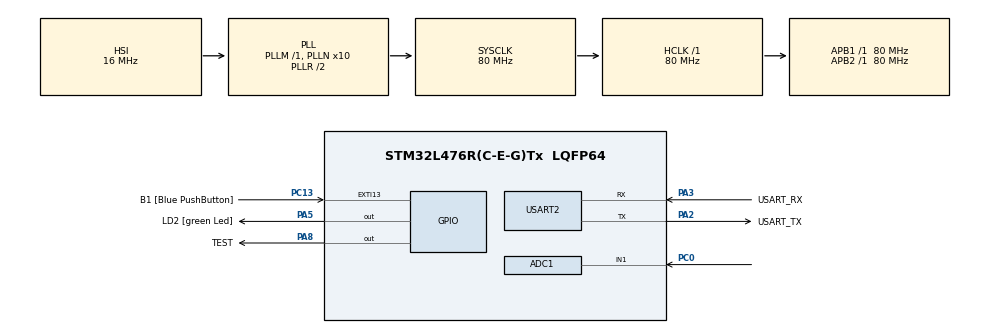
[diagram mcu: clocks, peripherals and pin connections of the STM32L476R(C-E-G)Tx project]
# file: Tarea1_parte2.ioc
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ADC1.Channel-0\#ChannelRegularConversion=ADC_CHANNEL_1
ADC1.ContinuousConvMode=DISABLE
ADC1.ExternalTrigConv=ADC_EXTERNALTRIG_T1_TRGO
ADC1.NbrOfConversionFlag=1
ADC1.OffsetNumber-0\#ChannelRegularConversion=ADC_OFFSET_NONE
ADC1.Rank-0\#ChannelRegularConversion=1
ADC1.SamplingTime-0\#ChannelRegularConversion=ADC_SAMPLETIME_47CYCLES_5
ADC1.master=1
Dma.ADC1.0.Direction=DMA_PERIPH_TO_MEMORY
Dma.ADC1.0.Instance=DMA1_Channel1
Dma.ADC1.0.MemDataAlignment=DMA_MDATAALIGN_HALFWORD
Dma.ADC1.0.MemInc=DMA_MINC_ENABLE
Dma.ADC1.0.Mode=DMA_NORMAL
Dma.ADC1.0.PeriphDataAlignment=DMA_PDATAALIGN_HALFWORD
Dma.ADC1.0.PeriphInc=DMA_PINC_DISABLE
Dma.ADC1.0.Priority=DMA_PRIORITY_LOW
Dma.Request0=ADC1
Mcu.Family=STM32L4
Mcu.Name=STM32L476R(C-E-G)Tx
Mcu.Package=LQFP64
NVIC.ADC1_2_IRQn=true\:0\:0\:false\:false\:true\:true\:true\:true
NVIC.DMA1_Channel1_IRQn=true\:0\:0\:false\:false\:true\:false\:true\:true
NVIC.EXTI15_10_IRQn=true\:0\:0\:false\:false\:true\:true\:true\:true
NVIC.PriorityGroup=NVIC_PRIORITYGROUP_4
PA13\ (JTMS-SWDIO).GPIO_Label=TMS
PA13\ (JTMS-SWDIO).Mode=Serial_Wire
PA13\ (JTMS-SWDIO).Signal=SYS_JTMS-SWDIO
PA14\ (JTCK-SWCLK).GPIO_Label=TCK
PA14\ (JTCK-SWCLK).Mode=Serial_Wire
PA14\ (JTCK-SWCLK).Signal=SYS_JTCK-SWCLK
PA2.GPIO_Label=USART_TX
PA2.GPIO_Mode=GPIO_MODE_AF_PP
PA2.GPIO_PuPd=GPIO_NOPULL
PA2.GPIO_Speed=GPIO_SPEED_FREQ_VERY_HIGH
PA2.Mode=Asynchronous
PA2.Signal=USART2_TX
PA3.GPIO_Label=USART_RX
PA3.GPIO_Mode=GPIO_MODE_AF_PP
PA3.GPIO_PuPd=GPIO_NOPULL
PA3.GPIO_Speed=GPIO_SPEED_FREQ_VERY_HIGH
PA3.Mode=Asynchronous
PA3.Signal=USART2_RX
PA5.GPIO_Label=LD2 [green Led]
PA5.GPIO_ModeDefaultOutputPP=GPIO_MODE_OUTPUT_PP
PA5.GPIO_PuPd=GPIO_NOPULL
PA5.GPIO_Speed=GPIO_SPEED_FREQ_LOW
PA5.Signal=GPIO_Output
PA8.GPIO_Label=TEST
PA8.Signal=GPIO_Output
PB3\ (JTDO-TRACESWO).GPIO_Label=SWO
PB3\ (JTDO-TRACESWO).Signal=SYS_JTDO-SWO
PC0.Signal=ADCx_IN1
PC13.GPIO_Label=B1 [Blue PushButton]
PC13.GPIO_ModeDefaultEXTI=GPIO_MODE_IT_FALLING
PC13.GPIO_PuPd=GPIO_NOPULL
PC13.Signal=GPXTI13
PC14-OSC32_IN\ (PC14).Mode=LSE-External-Oscillator
PC14-OSC32_IN\ (PC14).Signal=RCC_OSC32_IN
PC15-OSC32_OUT\ (PC15).Mode=LSE-External-Oscillator
PC15-OSC32_OUT\ (PC15).Signal=RCC_OSC32_OUT
PH0-OSC_IN\ (PH0).Signal=RCC_OSC_IN
PH1-OSC_OUT\ (PH1).Signal=RCC_OSC_OUT
ProjectManager.HeapSize=0x200
ProjectManager.StackSize=0x400
ProjectManager.TargetToolchain=STM32CubeIDE
RCC.ADCFreq_Value=64000000
RCC.AHBFreq_Value=80000000
RCC.APB1Freq_Value=80000000
RCC.APB1TimFreq_Value=80000000
RCC.APB2Freq_Value=80000000
RCC.APB2TimFreq_Value=80000000
RCC.CortexFreq_Value=80000000
RCC.HCLKFreq_Value=80000000
RCC.HSE_VALUE=8000000
RCC.HSI_VALUE=16000000
RCC.MSI_VALUE=4000000
RCC.PLLN=10
RCC.PLLSourceVirtual=RCC_PLLSOURCE_HSI
RCC.PREFETCH_ENABLE=1
RCC.SYSCLKFreq_VALUE=80000000
RCC.SYSCLKSource=RCC_SYSCLKSOURCE_PLLCLK
RCC.USBFreq_Value=64000000
RCC.VCOOutputFreq_Value=160000000
SH.ADCx_IN1.0=ADC1_IN1,IN1-Single-Ended
TIM1.Period=99
TIM1.Prescaler=799
TIM1.TIM_MasterOutputTrigger=TIM_TRGO_UPDATE
TIM1.TIM_MasterSlaveMode=TIM_MASTERSLAVEMODE_ENABLE
USART2.VirtualMode-Asynchronous=VM_ASYNC
VP_TIM1_VS_ClockSourceINT.Mode=Internal
board=NUCLEO-L476RG

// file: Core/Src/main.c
/* USER CODE BEGIN Header */
/**
  ******************************************************************************
  * @file           : main.c
  * @brief          : Main program body
  ******************************************************************************
  * @attention
  *
  * Copyright (c) 2026 STMicroelectronics.
  * All rights reserved.
  *
  * This software is licensed under terms that can be found in the LICENSE file
  * in the root directory of this software component.
  * If no LICENSE file comes with this software, it is provided AS-IS.
  *
  ******************************************************************************
  */
/* USER CODE END Header */
#include "main.h"

/* USER CODE BEGIN Includes */

#include <stdio.h>
#include <string.h>

/* USER CODE END Includes */

/* USER CODE BEGIN PD */
#define FS 1000
#define N (2*FS)

/* USER CODE END PD */

ADC_HandleTypeDef hadc1;
DMA_HandleTypeDef hdma_adc1;

TIM_HandleTypeDef htim1;

UART_HandleTypeDef huart2;

/* USER CODE BEGIN PV */

uint16_t buffer[N];

volatile uint16_t index_adc = 0;
volatile uint8_t start = 0;
volatile uint8_t done = 0;

void enviar_datos(void);

/* USER CODE END PV */

void SystemClock_Config(void);
static void MX_GPIO_Init(void);
static void MX_DMA_Init(void);
static void MX_USART2_UART_Init(void);
static void MX_ADC1_Init(void);
static void MX_TIM1_Init(void);

int main(void)
{

  /* MCU Configuration--------------------------------------------------------*/

  /* Reset of all peripherals, Initializes the Flash interface and the Systick. */
  HAL_Init();

  /* Configure the system clock */
  SystemClock_Config();

  /* Initialize all configured peripherals */
  MX_GPIO_Init();
  MX_DMA_Init();
  MX_USART2_UART_Init();
  MX_ADC1_Init();
  MX_TIM1_Init();
  /* USER CODE BEGIN 2 */
  HAL_TIM_Base_Start(&htim1);	//Iniciar Timer 1
  /* USER CODE END 2 */

  /* Infinite loop */
  while (1)
  {

    /* USER CODE BEGIN 3 */

      if(start)
      {
          index_adc = 0;
          done = 0;

          // ----- CPU -----
          HAL_GPIO_WritePin(LD2_GPIO_Port, LD2_Pin, GPIO_PIN_SET);
          HAL_ADC_Start_IT(&hadc1);
          // ----- CPU -----

          // ----- DMA -----
          /*
          HAL_GPIO_WritePin(TEST_GPIO_Port, TEST_Pin, GPIO_PIN_SET);
          HAL_GPIO_WritePin(LD2_GPIO_Port, LD2_Pin, GPIO_PIN_SET);
          HAL_ADC_Start_DMA(&hadc1, (uint32_t*)buffer, N);
          */
          // ----- DMA -----

          start = 0;
      }

      // Se ejecuta cuando termina la adquisición
      if(done)
      {
          // ----- CPU -----
          HAL_GPIO_WritePin(LD2_GPIO_Port, LD2_Pin, GPIO_PIN_RESET);
          HAL_ADC_Stop_IT(&hadc1);
          // ----- CPU -----

          // ----- DMA -----
    	  /*
          HAL_GPIO_WritePin(TEST_GPIO_Port, TEST_Pin, GPIO_PIN_RESET);
          HAL_GPIO_WritePin(LD2_GPIO_Port, LD2_Pin, GPIO_PIN_RESET);
          HAL_ADC_Stop_DMA(&hadc1);
          */
          // ----- DMA -----

          enviar_datos();

          done = 0;
          HAL_Delay(500);
      }
  }

  /* USER CODE END 3 */
}

void SystemClock_Config(void)
{
  RCC_OscInitTypeDef RCC_OscInitStruct = {0};
  RCC_ClkInitTypeDef RCC_ClkInitStruct = {0};

  /** Configure the main internal regulator output voltage
  */
  if (HAL_PWREx_ControlVoltageScaling(PWR_REGULATOR_VOLTAGE_SCALE1) != HAL_OK)
  {
    Error_Handler();
  }

  /** Initializes the RCC Oscillators according to the specified parameters
  * in the RCC_OscInitTypeDef structure.
  */
  RCC_OscInitStruct.OscillatorType = RCC_OSCILLATORTYPE_HSI;
  RCC_OscInitStruct.HSIState = RCC_HSI_ON;
  RCC_OscInitStruct.HSICalibrationValue = RCC_HSICALIBRATION_DEFAULT;
  RCC_OscInitStruct.PLL.PLLState = RCC_PLL_ON;
  RCC_OscInitStruct.PLL.PLLSource = RCC_PLLSOURCE_HSI;
  RCC_OscInitStruct.PLL.PLLM = 1;
  RCC_OscInitStruct.PLL.PLLN = 10;
  RCC_OscInitStruct.PLL.PLLP = RCC_PLLP_DIV7;
  RCC_OscInitStruct.PLL.PLLQ = RCC_PLLQ_DIV2;
  RCC_OscInitStruct.PLL.PLLR = RCC_PLLR_DIV2;
  if (HAL_RCC_OscConfig(&RCC_OscInitStruct) != HAL_OK)
  {
    Error_Handler();
  }

  /** Initializes the CPU, AHB and APB buses clocks
  */
  RCC_ClkInitStruct.ClockType = RCC_CLOCKTYPE_HCLK|RCC_CLOCKTYPE_SYSCLK
                              |RCC_CLOCKTYPE_PCLK1|RCC_CLOCKTYPE_PCLK2;
  RCC_ClkInitStruct.SYSCLKSource = RCC_SYSCLKSOURCE_PLLCLK;
  RCC_ClkInitStruct.AHBCLKDivider = RCC_SYSCLK_DIV1;
  RCC_ClkInitStruct.APB1CLKDivider = RCC_HCLK_DIV1;
  RCC_ClkInitStruct.APB2CLKDivider = RCC_HCLK_DIV1;

  if (HAL_RCC_ClockConfig(&RCC_ClkInitStruct, FLASH_LATENCY_4) != HAL_OK)
  {
    Error_Handler();
  }
}

static void MX_ADC1_Init(void)
{

  ADC_MultiModeTypeDef multimode = {0};
  ADC_ChannelConfTypeDef sConfig = {0};

  /** Common config
  */
  hadc1.Instance = ADC1;
  hadc1.Init.ClockPrescaler = ADC_CLOCK_ASYNC_DIV1;
  hadc1.Init.Resolution = ADC_RESOLUTION_12B;
  hadc1.Init.DataAlign = ADC_DATAALIGN_RIGHT;
  hadc1.Init.ScanConvMode = ADC_SCAN_DISABLE;
  hadc1.Init.EOCSelection = ADC_EOC_SINGLE_CONV;
  hadc1.Init.LowPowerAutoWait = DISABLE;
  hadc1.Init.ContinuousConvMode = DISABLE;
  hadc1.Init.NbrOfConversion = 1;
  hadc1.Init.DiscontinuousConvMode = DISABLE;
  hadc1.Init.ExternalTrigConv = ADC_EXTERNALTRIG_T1_TRGO;
  hadc1.Init.ExternalTrigConvEdge = ADC_EXTERNALTRIGCONVEDGE_RISING;
  hadc1.Init.DMAContinuousRequests = DISABLE;
  hadc1.Init.Overrun = ADC_OVR_DATA_PRESERVED;
  hadc1.Init.OversamplingMode = DISABLE;
  if (HAL_ADC_Init(&hadc1) != HAL_OK)
  {
    Error_Handler();
  }

  /** Configure the ADC multi-mode
  */
  multimode.Mode = ADC_MODE_INDEPENDENT;
  if (HAL_ADCEx_MultiModeConfigChannel(&hadc1, &multimode) != HAL_OK)
  {
    Error_Handler();
  }

  /** Configure Regular Channel
  */
  sConfig.Channel = ADC_CHANNEL_1;
  sConfig.Rank = ADC_REGULAR_RANK_1;
  sConfig.SamplingTime = ADC_SAMPLETIME_47CYCLES_5;
  sConfig.SingleDiff = ADC_SINGLE_ENDED;
  sConfig.OffsetNumber = ADC_OFFSET_NONE;
  sConfig.Offset = 0;
  if (HAL_ADC_ConfigChannel(&hadc1, &sConfig) != HAL_OK)
  {
    Error_Handler();
  }

}

static void MX_TIM1_Init(void)
{

  TIM_ClockConfigTypeDef sClockSourceConfig = {0};
  TIM_MasterConfigTypeDef sMasterConfig = {0};

  htim1.Instance = TIM1;
  htim1.Init.Prescaler = 799;
  htim1.Init.CounterMode = TIM_COUNTERMODE_UP;
  htim1.Init.Period = 99;
  htim1.Init.ClockDivision = TIM_CLOCKDIVISION_DIV1;
  htim1.Init.RepetitionCounter = 0;
  htim1.Init.AutoReloadPreload = TIM_AUTORELOAD_PRELOAD_DISABLE;
  if (HAL_TIM_Base_Init(&htim1) != HAL_OK)
  {
    Error_Handler();
  }
  sClockSourceConfig.ClockSource = TIM_CLOCKSOURCE_INTERNAL;
  if (HAL_TIM_ConfigClockSource(&htim1, &sClockSourceConfig) != HAL_OK)
  {
    Error_Handler();
  }
  sMasterConfig.MasterOutputTrigger = TIM_TRGO_UPDATE;
  sMasterConfig.MasterOutputTrigger2 = TIM_TRGO2_RESET;
  sMasterConfig.MasterSlaveMode = TIM_MASTERSLAVEMODE_ENABLE;
  if (HAL_TIMEx_MasterConfigSynchronization(&htim1, &sMasterConfig) != HAL_OK)
  {
    Error_Handler();
  }

}

static void MX_USART2_UART_Init(void)
{

  huart2.Instance = USART2;
  huart2.Init.BaudRate = 115200;
  huart2.Init.WordLength = UART_WORDLENGTH_8B;
  huart2.Init.StopBits = UART_STOPBITS_1;
  huart2.Init.Parity = UART_PARITY_NONE;
  huart2.Init.Mode = UART_MODE_TX_RX;
  huart2.Init.HwFlowCtl = UART_HWCONTROL_NONE;
  huart2.Init.OverSampling = UART_OVERSAMPLING_16;
  huart2.Init.OneBitSampling = UART_ONE_BIT_SAMPLE_DISABLE;
  huart2.AdvancedInit.AdvFeatureInit = UART_ADVFEATURE_NO_INIT;
  if (HAL_UART_Init(&huart2) != HAL_OK)
  {
    Error_Handler();
  }

}

static void MX_DMA_Init(void)
{

  /* DMA controller clock enable */
  __HAL_RCC_DMA1_CLK_ENABLE();

  /* DMA interrupt init */
  /* DMA1_Channel1_IRQn interrupt configuration */
  HAL_NVIC_SetPriority(DMA1_Channel1_IRQn, 0, 0);
  HAL_NVIC_EnableIRQ(DMA1_Channel1_IRQn);

}

static void MX_GPIO_Init(void)
{
  GPIO_InitTypeDef GPIO_InitStruct = {0};

  /* GPIO Ports Clock Enable */
  __HAL_RCC_GPIOC_CLK_ENABLE();
  __HAL_RCC_GPIOH_CLK_ENABLE();
  __HAL_RCC_GPIOA_CLK_ENABLE();
  __HAL_RCC_GPIOB_CLK_ENABLE();

  /*Configure GPIO pin Output Level */
  HAL_GPIO_WritePin(GPIOA, LD2_Pin|TEST_Pin, GPIO_PIN_RESET);

  /*Configure GPIO pin : B1_Pin */
  GPIO_InitStruct.Pin = B1_Pin;
  GPIO_InitStruct.Mode = GPIO_MODE_IT_FALLING;
  GPIO_InitStruct.Pull = GPIO_NOPULL;
  HAL_GPIO_Init(B1_GPIO_Port, &GPIO_InitStruct);

  /*Configure GPIO pins : LD2_Pin TEST_Pin */
  GPIO_InitStruct.Pin = LD2_Pin|TEST_Pin;
  GPIO_InitStruct.Mode = GPIO_MODE_OUTPUT_PP;
  GPIO_InitStruct.Pull = GPIO_NOPULL;
  GPIO_InitStruct.Speed = GPIO_SPEED_FREQ_LOW;
  HAL_GPIO_Init(GPIOA, &GPIO_InitStruct);

  /* EXTI interrupt init*/
  HAL_NVIC_SetPriority(EXTI15_10_IRQn, 0, 0);
  HAL_NVIC_EnableIRQ(EXTI15_10_IRQn);

}

/* USER CODE BEGIN 4 */

void HAL_GPIO_EXTI_Callback(uint16_t GPIO_Pin)
{
    if(GPIO_Pin == B1_Pin) // GPIO_Pin == B1_Pin es el Pulsador
    {
        start = 1;
    }
}

// ----- CPU -----
void HAL_ADC_ConvCpltCallback(ADC_HandleTypeDef* hadc)
{
	HAL_GPIO_WritePin(TEST_GPIO_Port, TEST_Pin, GPIO_PIN_SET);		// Inicio trabajo del CPU
    if(index_adc < N)
    {
        buffer[index_adc++] = HAL_ADC_GetValue(hadc);
    }

    if(index_adc >= N)
    {
        done = 1;
    }
    HAL_GPIO_WritePin(TEST_GPIO_Port, TEST_Pin, GPIO_PIN_RESET);	// Fin trabajo del CPU
}
// ----- CPU -----

// ----- DMA -----
/*
void HAL_ADC_ConvCpltCallback(ADC_HandleTypeDef* hadc)
{
    done = 1;
}
*/
// ----- DMA -----

void enviar_datos(void)
{
    char msg[32];

    for(int i = 0; i < N; i++)
    {
        sprintf(msg, "%d\r\n", buffer[i]);
        HAL_UART_Transmit(&huart2, (uint8_t*)msg, strlen(msg), 100);
    }
}

/* USER CODE END 4 */

void Error_Handler(void)
{
  __disable_irq();
  while (1)
  {
  }
}
